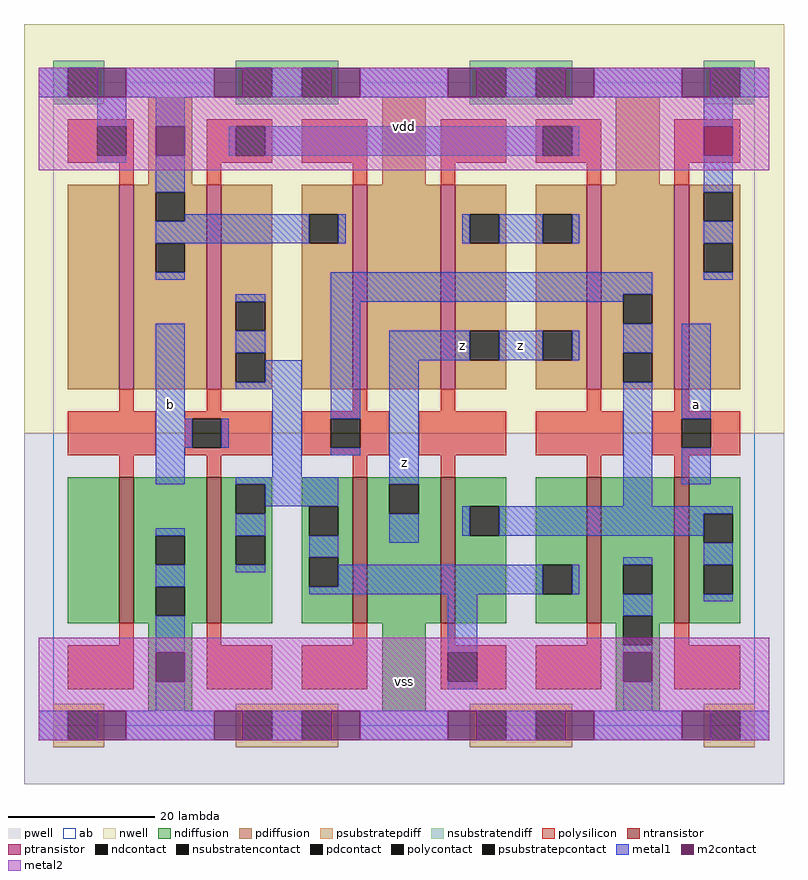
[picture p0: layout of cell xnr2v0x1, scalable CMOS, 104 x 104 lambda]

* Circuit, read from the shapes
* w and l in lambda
.subckt xnr2v0x1 a b vdd vss z
M1 vss vdd n1 vss nfet w=20 l=2
M2 n2 b vss vss nfet w=20 l=2 m=2
M3 z n3 n2 vss nfet w=20 l=2
M4 n3 n2 z vss nfet w=20 l=2
M5 n3 a vss vss nfet w=20 l=2
M6 vdd vdd n4 vdd pfet w=28 l=2
M7 n2 b vdd vdd pfet w=28 l=2
M8 n5 n3 vdd vdd pfet w=28 l=2
M9 z n2 n5 vdd pfet w=28 l=2
M10 n3 b z vdd pfet w=28 l=2
M11 vdd a n3 vdd pfet w=28 l=2
.ends

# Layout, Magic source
magic
tech scmos
<< ab >>
rect 0 0 96 88
<< pwell >>
rect -4 -8 100 40
<< nwell >>
rect -4 40 100 96
<< polysilicon >>
rect 2 82 11 83
rect 2 78 6 82
rect 10 78 11 82
rect 2 77 11 78
rect 9 74 11 77
rect 21 82 30 83
rect 21 78 25 82
rect 29 78 30 82
rect 21 77 30 78
rect 34 77 43 83
rect 21 74 23 77
rect 41 74 43 77
rect 53 77 62 83
rect 66 82 75 83
rect 66 78 67 82
rect 71 78 75 82
rect 66 77 75 78
rect 53 74 55 77
rect 73 74 75 77
rect 85 77 94 83
rect 85 74 87 77
rect 9 43 11 46
rect 21 43 23 46
rect 41 43 43 46
rect 53 43 55 46
rect 73 43 75 46
rect 85 43 87 46
rect 2 37 14 43
rect 18 42 30 43
rect 18 38 19 42
rect 23 38 30 42
rect 18 37 30 38
rect 34 42 46 43
rect 34 38 38 42
rect 42 38 46 42
rect 34 37 46 38
rect 50 37 62 43
rect 66 37 78 43
rect 82 42 94 43
rect 82 38 86 42
rect 90 38 94 42
rect 82 37 94 38
rect 9 34 11 37
rect 21 34 23 37
rect 41 34 43 37
rect 53 34 55 37
rect 73 34 75 37
rect 85 34 87 37
rect 9 11 11 14
rect 2 5 11 11
rect 21 11 23 14
rect 41 11 43 14
rect 21 5 30 11
rect 34 5 43 11
rect 53 11 55 14
rect 73 11 75 14
rect 53 10 62 11
rect 53 6 54 10
rect 58 6 62 10
rect 53 5 62 6
rect 66 5 75 11
rect 85 11 87 14
rect 85 5 94 11
<< ndiffusion >>
rect 2 14 9 34
rect 11 26 21 34
rect 11 22 14 26
rect 18 22 21 26
rect 11 19 21 22
rect 11 15 14 19
rect 18 15 21 19
rect 11 14 21 15
rect 23 33 30 34
rect 23 29 25 33
rect 29 29 30 33
rect 23 26 30 29
rect 23 22 25 26
rect 29 22 30 26
rect 23 14 30 22
rect 34 30 41 34
rect 34 26 35 30
rect 39 26 41 30
rect 34 23 41 26
rect 34 19 35 23
rect 39 19 41 23
rect 34 14 41 19
rect 43 33 53 34
rect 43 29 46 33
rect 50 29 53 33
rect 43 14 53 29
rect 55 30 62 34
rect 55 26 57 30
rect 61 26 62 30
rect 55 14 62 26
rect 66 22 73 34
rect 66 18 67 22
rect 71 18 73 22
rect 66 14 73 18
rect 75 22 85 34
rect 75 18 78 22
rect 82 18 85 22
rect 75 15 85 18
rect 75 14 78 15
rect 13 2 19 14
rect 45 2 51 14
rect 77 11 78 14
rect 82 14 85 15
rect 87 29 94 34
rect 87 25 89 29
rect 93 25 94 29
rect 87 22 94 25
rect 87 18 89 22
rect 93 18 94 22
rect 87 14 94 18
rect 82 11 83 14
rect 77 2 83 11
<< pdiffusion >>
rect 13 74 19 86
rect 45 74 51 86
rect 77 74 83 86
rect 2 46 9 74
rect 11 73 21 74
rect 11 69 14 73
rect 18 69 21 73
rect 11 66 21 69
rect 11 62 14 66
rect 18 62 21 66
rect 11 46 21 62
rect 23 58 30 74
rect 23 54 25 58
rect 29 54 30 58
rect 23 51 30 54
rect 23 47 25 51
rect 29 47 30 51
rect 23 46 30 47
rect 34 70 41 74
rect 34 66 35 70
rect 39 66 41 70
rect 34 46 41 66
rect 43 46 53 74
rect 55 70 62 74
rect 55 66 57 70
rect 61 66 62 70
rect 55 54 62 66
rect 55 50 57 54
rect 61 50 62 54
rect 55 46 62 50
rect 66 70 73 74
rect 66 66 67 70
rect 71 66 73 70
rect 66 54 73 66
rect 66 50 67 54
rect 71 50 73 54
rect 66 46 73 50
rect 75 59 85 74
rect 75 55 78 59
rect 82 55 85 59
rect 75 51 85 55
rect 75 47 78 51
rect 82 47 85 51
rect 75 46 85 47
rect 87 73 94 74
rect 87 69 89 73
rect 93 69 94 73
rect 87 66 94 69
rect 87 62 89 66
rect 93 62 94 66
rect 87 46 94 62
<< metal1 >>
rect -2 86 2 90
rect 10 86 22 90
rect 30 86 34 90
rect 42 86 54 90
rect 62 86 66 90
rect 74 86 86 90
rect 94 86 98 90
rect 6 82 10 86
rect 6 77 10 78
rect 14 82 18 86
rect 89 82 93 86
rect 24 78 25 82
rect 29 78 67 82
rect 71 78 72 82
rect 14 73 18 78
rect 89 73 93 78
rect 18 69 35 70
rect 14 66 35 69
rect 39 66 40 70
rect 56 66 57 70
rect 61 66 67 70
rect 71 66 72 70
rect 89 66 93 69
rect 14 61 18 62
rect 38 59 82 62
rect 89 61 93 62
rect 25 58 29 59
rect 14 42 18 55
rect 25 51 29 54
rect 38 58 78 59
rect 29 47 34 50
rect 25 46 34 47
rect 14 38 19 42
rect 23 38 24 42
rect 14 33 18 38
rect 30 34 34 46
rect 38 42 42 58
rect 38 37 42 38
rect 46 50 57 54
rect 61 50 67 54
rect 71 50 72 54
rect 78 51 82 55
rect 25 33 39 34
rect 29 30 39 33
rect 14 26 18 27
rect 14 19 18 22
rect 25 26 29 29
rect 25 21 29 22
rect 35 23 39 26
rect 46 33 50 50
rect 78 30 82 47
rect 86 42 90 55
rect 86 33 90 38
rect 46 25 50 29
rect 56 26 57 30
rect 61 29 93 30
rect 61 26 89 29
rect 78 22 82 23
rect 39 19 67 22
rect 35 18 67 19
rect 71 18 72 22
rect 14 10 18 15
rect 14 2 18 6
rect 54 10 58 18
rect 54 5 58 6
rect 78 15 82 18
rect 89 22 93 25
rect 89 17 93 18
rect 78 10 82 11
rect 78 2 82 6
rect -2 -2 2 2
rect 10 -2 22 2
rect 30 -2 34 2
rect 42 -2 54 2
rect 62 -2 66 2
rect 74 -2 86 2
rect 94 -2 98 2
<< metal2 >>
rect -2 86 6 90
rect 10 86 22 90
rect 26 86 38 90
rect 42 86 54 90
rect 58 86 70 90
rect 74 86 86 90
rect 90 86 98 90
rect -2 82 98 86
rect -2 78 14 82
rect 18 78 89 82
rect 93 78 98 82
rect -2 76 98 78
rect -2 10 98 12
rect -2 6 14 10
rect 18 6 78 10
rect 82 6 98 10
rect -2 2 98 6
rect -2 -2 6 2
rect 10 -2 22 2
rect 26 -2 38 2
rect 42 -2 54 2
rect 58 -2 70 2
rect 74 -2 86 2
rect 90 -2 98 2
<< ntransistor >>
rect 9 14 11 34
rect 21 14 23 34
rect 41 14 43 34
rect 53 14 55 34
rect 73 14 75 34
rect 85 14 87 34
<< ptransistor >>
rect 9 46 11 74
rect 21 46 23 74
rect 41 46 43 74
rect 53 46 55 74
rect 73 46 75 74
rect 85 46 87 74
<< polycontact >>
rect 6 78 10 82
rect 25 78 29 82
rect 67 78 71 82
rect 19 38 23 42
rect 38 38 42 42
rect 86 38 90 42
rect 54 6 58 10
<< ndcontact >>
rect 14 22 18 26
rect 14 15 18 19
rect 25 29 29 33
rect 25 22 29 26
rect 35 26 39 30
rect 35 19 39 23
rect 46 29 50 33
rect 57 26 61 30
rect 67 18 71 22
rect 78 18 82 22
rect 78 11 82 15
rect 89 25 93 29
rect 89 18 93 22
<< pdcontact >>
rect 14 69 18 73
rect 14 62 18 66
rect 25 54 29 58
rect 25 47 29 51
rect 35 66 39 70
rect 57 66 61 70
rect 57 50 61 54
rect 67 66 71 70
rect 67 50 71 54
rect 78 55 82 59
rect 78 47 82 51
rect 89 69 93 73
rect 89 62 93 66
<< m2contact >>
rect 6 86 10 90
rect 22 86 26 90
rect 38 86 42 90
rect 54 86 58 90
rect 70 86 74 90
rect 86 86 90 90
rect 14 78 18 82
rect 89 78 93 82
rect 14 6 18 10
rect 78 6 82 10
rect 6 -2 10 2
rect 22 -2 26 2
rect 38 -2 42 2
rect 54 -2 58 2
rect 70 -2 74 2
rect 86 -2 90 2
<< psubstratepcontact >>
rect 2 -2 6 2
rect 26 -2 30 2
rect 34 -2 38 2
rect 58 -2 62 2
rect 66 -2 70 2
rect 90 -2 94 2
<< nsubstratencontact >>
rect 2 86 6 90
rect 26 86 30 90
rect 34 86 38 90
rect 58 86 62 90
rect 66 86 70 90
rect 90 86 94 90
<< psubstratepdiff >>
rect 0 2 7 3
rect 25 2 39 3
rect 57 2 71 3
rect 89 2 96 3
rect 0 -2 2 2
rect 6 -2 7 2
rect 0 -3 7 -2
rect 25 -2 26 2
rect 30 -2 34 2
rect 38 -2 39 2
rect 25 -3 39 -2
rect 57 -2 58 2
rect 62 -2 66 2
rect 70 -2 71 2
rect 57 -3 71 -2
rect 89 -2 90 2
rect 94 -2 96 2
rect 89 -3 96 -2
<< nsubstratendiff >>
rect 0 90 7 91
rect 0 86 2 90
rect 6 86 7 90
rect 25 90 39 91
rect 25 86 26 90
rect 30 86 34 90
rect 38 86 39 90
rect 57 90 71 91
rect 57 86 58 90
rect 62 86 66 90
rect 70 86 71 90
rect 89 90 96 91
rect 89 86 90 90
rect 94 86 96 90
rect 0 85 7 86
rect 25 85 39 86
rect 57 85 71 86
rect 89 85 96 86
<< labels >>
rlabel metal1 16 44 16 44 6 b
rlabel metal1 48 36 48 36 6 z
rlabel metal1 64 52 64 52 6 z
rlabel metal1 56 52 56 52 6 z
rlabel metal1 88 44 88 44 6 a
rlabel metal2 48 6 48 6 6 vss
rlabel metal2 48 82 48 82 6 vdd
<< end >>
